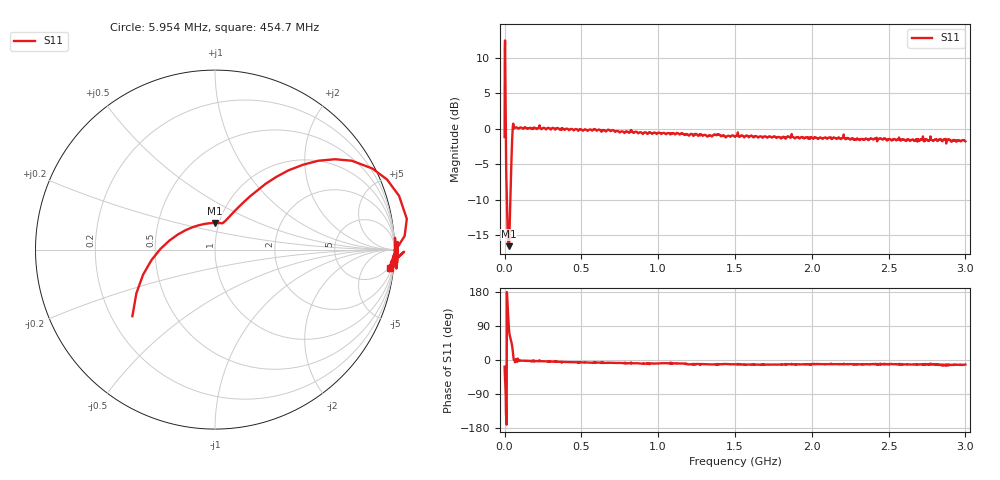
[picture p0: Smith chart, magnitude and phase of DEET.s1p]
# HZ S RI R 50
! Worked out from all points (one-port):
!   2020 points, 10 kHz to 3 GHz, reference 50 ohm
!   lowest |S11| = -16.6 dB at 26.76 MHz (marker M1), VSWR 1.35, Z = 47.6 + j14.5 ohm
!   |S11| at or under -10 dB: 14.51 MHz to 37.41 MHz (22.9 MHz wide, 88.2 % of centre)
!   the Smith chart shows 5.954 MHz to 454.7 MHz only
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10000  0.831 -0.2643
7439395  -0.113 -1.16
1.635467e7  -0.2545 0.0501
1.784055e7  -0.2077 0.0838
1.932643e7  -0.1644 0.108
2.081231e7  -0.1249 0.1248
2.378406e7  -0.0571 0.1432
2.675582e7  -0.00239 0.1486
3.418522e7  0.1026 0.2075
3.864285e7  0.1949 0.2965
4.310049e7  0.3425 0.4055
4.904401e7  0.6685 0.5034
5.498752e7  1.025 0.2995
6.241692e7  1.004 -0.0119
6.836043e7  1.01 -0.1058
7.430395e7  1.019 -0.0257
9.510626e7  1.007 -0.0317
3.759374e8  1.001 -0.0887
7.503789e8  0.9295 -0.1264
1.126306e9  0.9159 -0.1489
1.205058e9  0.8865 -0.1823
1.500748e9  0.8567 -0.1751
1.875189e9  0.8582 -0.1757
2.251117e9  0.8219 -0.1574
2.625558e9  0.8204 -0.1689
2.787519e9  0.8036 -0.1655
2.857355e9  0.8115 -0.1984
3e9  0.7954 -0.1697
